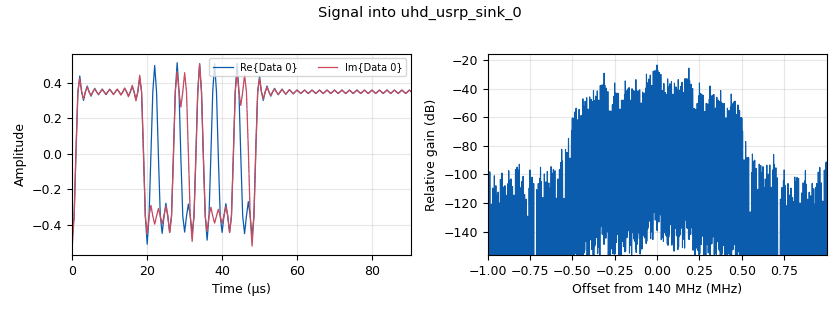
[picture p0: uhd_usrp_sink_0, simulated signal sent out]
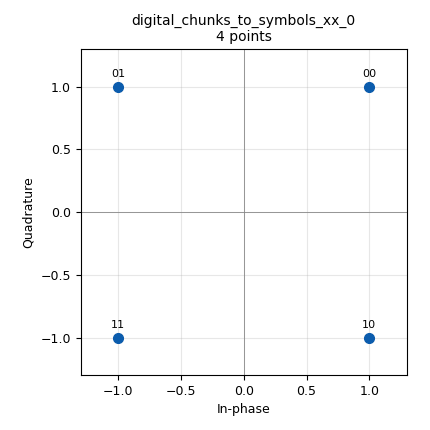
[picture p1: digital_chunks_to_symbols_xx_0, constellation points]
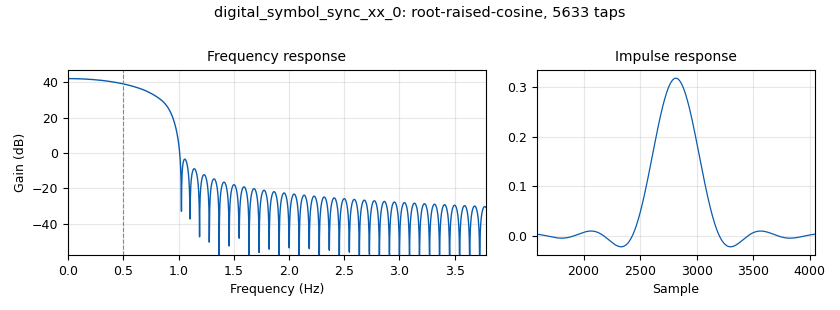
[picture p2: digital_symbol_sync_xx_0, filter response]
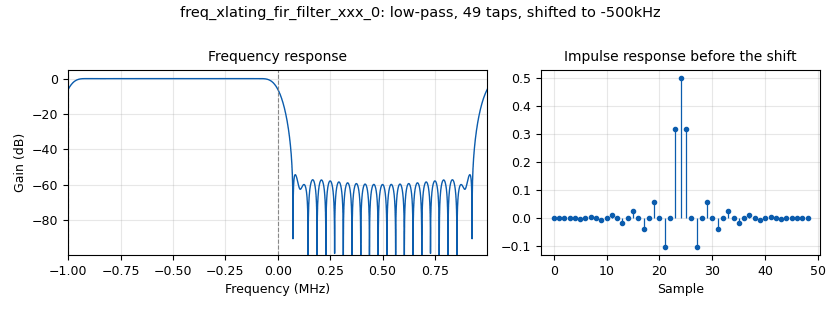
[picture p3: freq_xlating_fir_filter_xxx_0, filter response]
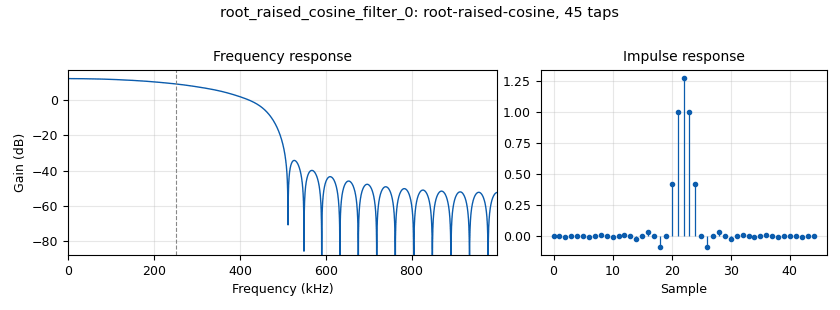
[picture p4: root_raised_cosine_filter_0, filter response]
options:
  parameters:
    author: USER
    generate_options: qt_gui
    id: TxDQPSK_2
    output_language: python
    title: TxDQPSK 2
  states: {}

blocks:
- name: Delay
  id: variable_qtgui_range
  parameters:
    label: Retardo
    start: '0'
    step: '1'
    stop: '10000'
    value: '6'
  states: {state: disabled}
- name: Delay2
  id: variable_qtgui_range
  parameters:
    label: RetardoRx
    start: '0'
    step: '1'
    stop: '200'
    value: '0'
  states: {}
- name: Filter_Taps
  id: variable
  parameters:
    value: firdes.root_raised_cosine(128, 128*4, 1.0, 1.0, 11*4*128)
  states: {}
- name: Imag
  id: variable_qtgui_chooser
  parameters:
    label: Imaginario
    label0: '0'
    label1: '1'
    label2: '- 1'
    num_opts: '3'
    option0: '0'
    option1: '1'
    option2: '-1'
    orient: Qt.QHBoxLayout
    type: int
    value: '0'
    widget: radio_buttons
  states: {}
- name: Mod_mQAM
  id: variable_constellation
  parameters:
    const_points: '[1+1j, -1+1j, 1-1j, -1-1j]'
    dims: '1'
    normalization: digital.constellation.AMPLITUDE_NORMALIZATION
    precision: '8'
    rot_sym: '4'
    sym_map: '[0, 1, 2, 3]'
    type: calcdist
  states: {}
- name: N
  id: variable_qtgui_range
  parameters:
    label: Amplitud de Ruido
    start: '0'
    step: '1e-6'
    stop: '1'
    value: '0.2'
  states: {state: disabled}
- name: Real
  id: variable_qtgui_chooser
  parameters:
    label: Real
    label0: '0'
    label1: '1'
    label2: '- 1'
    num_opts: '3'
    option0: '0'
    option1: '1'
    option2: '-1'
    orient: Qt.QHBoxLayout
    type: int
    value: '-1'
    widget: radio_buttons
  states: {}
- name: RxGain
  id: variable_qtgui_range
  parameters:
    label: Rx Ganancia RF
    start: '0'
    step: '1'
    stop: '50'
    value: '8'
  states: {}
- name: TxGain
  id: variable_qtgui_range
  parameters:
    label: Tx Ganancia RF
    start: '0'
    step: '1'
    stop: '80'
    value: '25'
  states: {}
- name: Tx_OL_Gain
  id: variable_qtgui_range
  parameters:
    label: Tx Ganancia OL
    start: '0'
    step: '1'
    stop: '80'
    value: '40'
  states: {}
- name: a_IQ
  id: variable_qtgui_range
  parameters:
    label: Amplitud senal compleja
    start: '0'
    step: '1e-3'
    stop: '10'
    value: '0.35'
  states: {}
- name: foff
  id: variable_qtgui_range
  parameters:
    label: Frequency Offset
    start: '0'
    step: '1e-6'
    stop: '0.25'
    value: '0'
  states: {state: disabled}
- name: foff_0
  id: variable_qtgui_range
  parameters:
    label: Frequency Offset Costas
    start: '0'
    step: '1e-6'
    stop: '0.25'
    value: '0.0628'
  states: {}
- name: samp_rate
  id: variable
  parameters:
    value: 500e3
  states: {}
- name: sps
  id: variable
  parameters:
    value: '4'
  states: {}
- name: analog_agc_xx_0
  id: analog_agc_xx
  parameters:
    gain: '1.0'
    max_gain: '100'
    rate: '1e-3'
    reference: '0.7'
    type: complex
  states: {}
- name: analog_const_source_x_0
  id: analog_const_source_x
  parameters:
    const: '1'
    type: complex
  states: {}
- name: analog_random_source_x_0
  id: analog_random_source_x
  parameters:
    max: '2'
    min: '0'
    num_samps: '100000'
    repeat: 'True'
    type: byte
  states: {state: disabled}
- name: blocks_add_const_vxx_0
  id: blocks_add_const_vxx
  parameters:
    const: '1e-13'
    type: float
  states: {}
- name: blocks_char_to_float_0
  id: blocks_char_to_float
  parameters:
    scale: '1'
  states: {}
- name: blocks_complex_to_float_0
  id: blocks_complex_to_float
  parameters: {}
  states: {}
- name: blocks_delay_0
  id: blocks_delay
  parameters:
    delay: Delay
    type: byte
  states: {state: disabled}
- name: blocks_delay_0_0
  id: blocks_delay
  parameters:
    delay: Delay2
    type: byte
  states: {state: disabled}
- name: blocks_file_sink_0
  id: blocks_file_sink
  parameters:
    file: C:\Users\andresbetancur\Desktop\Tx QPSK\rx_crudo_maestro.bin
    type: byte
  states: {state: disabled}
- name: blocks_file_sink_0_0
  id: blocks_file_sink
  parameters:
    file: C:\Users\andresbetancur\Desktop\Tx QPSK\tx_crudo.bin
    type: byte
  states: {state: disabled}
- name: blocks_file_source_0
  id: blocks_file_source
  parameters:
    file: /home/andres/Desktop/Tx QPSK/tx_crudo_maestro.bin
    repeat: 'True'
    type: byte
  states: {state: disabled}
- name: blocks_moving_average_xx_0
  id: blocks_moving_average_xx
  parameters:
    length: '100000'
    max_iter: '4096'
    scale: 1.0/100000.0
    type: float
  states: {}
- name: blocks_multiply_const_vxx_0
  id: blocks_multiply_const_vxx
  parameters:
    const: a_IQ
    type: complex
  states: {}
- name: blocks_multiply_const_vxx_1
  id: blocks_multiply_const_vxx
  parameters:
    const: Real+(Imag)*1j
    type: complex
  states: {}
- name: blocks_multiply_const_vxx_2
  id: blocks_multiply_const_vxx
  parameters:
    const: '-1'
    type: float
  states: {}
- name: blocks_nlog10_ff_0
  id: blocks_nlog10_ff
  parameters:
    k: '0'
  states: {}
- name: blocks_repack_bits_bb_0
  id: blocks_repack_bits_bb
  parameters:
    endianness: gr.GR_LSB_FIRST
    k: '1'
    l: '2'
  states: {}
- name: blocks_skiphead_0
  id: blocks_skiphead
  parameters:
    num_items: '0'
    type: float
  states: {}
- name: blocks_streams_to_stream_0
  id: blocks_streams_to_stream
  parameters:
    type: float
  states: {}
- name: blocks_throttle2_0
  id: blocks_throttle2
  parameters:
    samples_per_second: samp_rate
    type: byte
  states: {}
- name: blocks_uchar_to_float_1
  id: blocks_uchar_to_float
  parameters: {}
  states: {state: disabled}
- name: blocks_uchar_to_float_1_0
  id: blocks_uchar_to_float
  parameters: {}
  states: {state: disabled}
- name: blocks_xor_xx_0
  id: blocks_xor_xx
  parameters:
    type: byte
  states: {state: disabled}
- name: channels_channel_model_0
  id: channels_channel_model
  parameters:
    epsilon: '1.0'
    freq_offset: foff
    noise_voltage: N
    seed: '0'
    taps: 1 - 0j
  states: {state: bypassed}
- name: dc_blocker_xx_0
  id: dc_blocker_xx
  parameters:
    length: '32'
    long_form: 'True'
    type: cc
  states: {}
- name: digital_chunks_to_symbols_xx_0
  id: digital_chunks_to_symbols_xx
  parameters:
    dimension: '1'
    in_type: byte
    out_type: complex
    symbol_table: '[1+1j, -1+1j, 1-1j, -1-1j]'
  states: {}
- name: digital_constellation_modulator_0
  id: digital_constellation_modulator
  parameters:
    constellation: Mod_mQAM
    differential: 'False'
    excess_bw: '1'
    samples_per_symbol: '4'
  states: {state: disabled}
- name: digital_constellation_soft_decoder_cf_0
  id: digital_constellation_soft_decoder_cf
  parameters:
    constellation: Mod_mQAM
    npwr: '-1'
  states: {state: disabled}
- name: digital_costas_loop_cc_0
  id: digital_costas_loop_cc
  parameters:
    order: '4'
    w: foff_0
  states: {}
- name: digital_descrambler_bb_0
  id: digital_descrambler_bb
  parameters:
    len: '7'
    mask: '0x8A'
    seed: '0x7F'
  states: {}
- name: digital_glfsr_source_x_0
  id: digital_glfsr_source_x
  parameters:
    degree: '32'
    mask: '0x8A'
    repeat: 'True'
    seed: '0x7F'
    type: byte
  states: {}
- name: digital_map_bb_0
  id: digital_map_bb
  parameters:
    map: '[0 if x==255 else 1 for x in range(256)]'
  states: {state: disabled}
- name: digital_symbol_sync_xx_0
  id: digital_symbol_sync_xx
  parameters:
    constellation: Mod_mQAM.base()
    damping: '1.0'
    loop_bw: '0.02'
    max_dev: '0.05'
    nfilters: '128'
    osps: '1'
    pfb_mf_taps: Filter_Taps
    resamp_type: digital.IR_PFB_MF
    sps: sps
    ted_gain: '1.0'
    ted_type: digital.TED_GARDNER
    type: cc
  states: {}
- name: fec_decode_ccsds_27_fb_0
  id: fec_decode_ccsds_27_fb
  parameters: {}
  states: {}
- name: fec_encode_ccsds_27_bb_0
  id: fec_encode_ccsds_27_bb
  parameters: {}
  states: {}
- name: freq_xlating_fir_filter_xxx_0
  id: freq_xlating_fir_filter_xxx
  parameters:
    center_freq: '-500e3'
    decim: '1'
    samp_rate: samp_rate*sps
    taps: firdes.low_pass(1,samp_rate*sps,500e3,100e3)
    type: ccc
  states: {}
- name: import_0
  id: import
  parameters:
    imports: import numpy as np
  states: {}
- name: nb
  id: qtgui_tab_widget
  parameters:
    label0: Constelación Rx
    label1: Espectro RF del Rx
    label2: Secuencias Binarias Tx y Rx
    num_tabs: '3'
  states: {}
- name: osmosdr_source_0
  id: osmosdr_source
  parameters:
    bb_gain0: '20'
    freq0: 140e6+500e3
    gain0: RxGain
    gain_mode0: 'False'
    if_gain0: '20'
    sample_rate: samp_rate*sps
    sync: sync
    type: fc32
  states: {}
- name: qtgui_const_sink_x_0
  id: qtgui_const_sink_x
  parameters:
    grid: 'True'
    gui_hint: nb@0
    name: '"Constelacion Receptor"'
    size: '1024'
    type: complex
  states: {}
- name: qtgui_eye_sink_x_0
  id: qtgui_eye_sink_x
  parameters:
    ctrlpanel: 'True'
    label1: Diagrama de Ojo
    samp_per_symbol: sps
    size: '1024'
    srate: samp_rate*sps
    type: complex
  states: {}
- name: qtgui_freq_sink_x_0
  id: qtgui_freq_sink_x
  parameters:
    average: '0.1'
    bw: samp_rate*sps
    ctrlpanel: 'True'
    fc: 140e6
    fftsize: '8192'
    gui_hint: nb@1
    type: complex
  states: {}
- name: qtgui_number_sink_0
  id: qtgui_number_sink
  parameters:
    graph_type: qtgui.NUM_GRAPH_NONE
    type: float
  states: {}
- name: qtgui_time_sink_x_0
  id: qtgui_time_sink_x
  parameters:
    ctrlpanel: 'True'
    gui_hint: nb@2
    nconnections: '2'
    size: '1024'
    srate: samp_rate
    type: float
  states: {}
- name: root_raised_cosine_filter_0
  id: root_raised_cosine_filter
  parameters:
    alpha: '1'
    gain: sps
    interp: sps
    ntaps: 11*sps+1
    samp_rate: samp_rate*sps
    sym_rate: samp_rate
    type: interp_fir_filter_ccf
  states: {}
- name: uhd_usrp_sink_0
  id: uhd_usrp_sink
  parameters:
    ant0: '"TX/RX"'
    center_freq0: 140e6
    dev_addr: '"serial=30C2C26"'
    gain0: TxGain
    samp_rate: samp_rate*sps
    sync: sync
    type: fc32
  states: {}
- name: uhd_usrp_sink_0_0
  id: uhd_usrp_sink
  parameters:
    ant0: '"TX/RX"'
    center_freq0: 142e6
    dev_addr: '"serial=30B5874"'
    gain0: Tx_OL_Gain
    samp_rate: samp_rate*sps
    sync: sync
    type: fc32
  states: {}
- name: virtual_sink_0
  id: virtual_sink
  parameters:
    stream_id: CH_OUT
  states: {state: disabled}
- name: virtual_sink_1
  id: virtual_sink
  parameters:
    stream_id: Referencia
  states: {}
- name: virtual_sink_2
  id: virtual_sink
  parameters:
    stream_id: Seq_Rx
  states: {state: disabled}
- name: virtual_source_0
  id: virtual_source
  parameters:
    stream_id: CH_OUT
  states: {state: disabled}
- name: virtual_source_1
  id: virtual_source
  parameters:
    stream_id: Referencia
  states: {state: disabled}
- name: virtual_source_2
  id: virtual_source
  parameters:
    stream_id: Seq_Rx
  states: {state: disabled}

connections:
- [analog_agc_xx_0, '0', digital_symbol_sync_xx_0, '0']
- [analog_agc_xx_0, '0', qtgui_eye_sink_x_0, '0']
- [analog_const_source_x_0, '0', uhd_usrp_sink_0_0, '0']
- [analog_random_source_x_0, '0', blocks_throttle2_0, '0']
- [blocks_add_const_vxx_0, '0', blocks_nlog10_ff_0, '0']
- [blocks_char_to_float_0, '0', blocks_moving_average_xx_0, '0']
- [blocks_complex_to_float_0, '0', blocks_streams_to_stream_0, '0']
- [blocks_complex_to_float_0, '0', qtgui_time_sink_x_0, '0']
- [blocks_complex_to_float_0, '1', blocks_streams_to_stream_0, '1']
- [blocks_complex_to_float_0, '1', qtgui_time_sink_x_0, '1']
- [blocks_delay_0, '0', blocks_uchar_to_float_1, '0']
- [blocks_delay_0, '0', blocks_xor_xx_0, '1']
- [blocks_delay_0_0, '0', blocks_xor_xx_0, '0']
- [blocks_delay_0_0, '0', virtual_sink_2, '0']
- [blocks_file_source_0, '0', blocks_throttle2_0, '0']
- [blocks_moving_average_xx_0, '0', blocks_add_const_vxx_0, '0']
- [blocks_multiply_const_vxx_0, '0', channels_channel_model_0, '0']
- [blocks_multiply_const_vxx_1, '0', blocks_complex_to_float_0, '0']
- [blocks_multiply_const_vxx_1, '0', digital_constellation_soft_decoder_cf_0, '0']
- [blocks_multiply_const_vxx_1, '0', qtgui_const_sink_x_0, '0']
- [blocks_multiply_const_vxx_2, '0', fec_decode_ccsds_27_fb_0, '0']
- [blocks_nlog10_ff_0, '0', qtgui_number_sink_0, '0']
- [blocks_repack_bits_bb_0, '0', digital_chunks_to_symbols_xx_0, '0']
- [blocks_skiphead_0, '0', blocks_multiply_const_vxx_2, '0']
- [blocks_streams_to_stream_0, '0', blocks_skiphead_0, '0']
- [blocks_throttle2_0, '0', fec_encode_ccsds_27_bb_0, '0']
- [blocks_throttle2_0, '0', virtual_sink_1, '0']
- [blocks_xor_xx_0, '0', blocks_char_to_float_0, '0']
- [channels_channel_model_0, '0', uhd_usrp_sink_0, '0']
- [channels_channel_model_0, '0', virtual_sink_0, '0']
- [dc_blocker_xx_0, '0', freq_xlating_fir_filter_xxx_0, '0']
- [digital_chunks_to_symbols_xx_0, '0', root_raised_cosine_filter_0, '0']
- [digital_constellation_soft_decoder_cf_0, '0', blocks_skiphead_0, '0']
- [digital_costas_loop_cc_0, '0', blocks_multiply_const_vxx_1, '0']
- [digital_descrambler_bb_0, '0', blocks_char_to_float_0, '0']
- [digital_descrambler_bb_0, '0', digital_map_bb_0, '0']
- [digital_glfsr_source_x_0, '0', blocks_throttle2_0, '0']
- [digital_map_bb_0, '0', blocks_delay_0_0, '0']
- [digital_symbol_sync_xx_0, '0', digital_costas_loop_cc_0, '0']
- [fec_decode_ccsds_27_fb_0, '0', digital_descrambler_bb_0, '0']
- [fec_encode_ccsds_27_bb_0, '0', blocks_repack_bits_bb_0, '0']
- [freq_xlating_fir_filter_xxx_0, '0', analog_agc_xx_0, '0']
- [freq_xlating_fir_filter_xxx_0, '0', qtgui_freq_sink_x_0, '0']
- [osmosdr_source_0, '0', dc_blocker_xx_0, '0']
- [root_raised_cosine_filter_0, '0', blocks_multiply_const_vxx_0, '0']
- [virtual_source_0, '0', analog_agc_xx_0, '0']
- [virtual_source_1, '0', blocks_delay_0, '0']
- [virtual_source_2, '0', blocks_uchar_to_float_1_0, '0']

metadata:
  file_format: 1
  grc_version: 3.10.9.2
